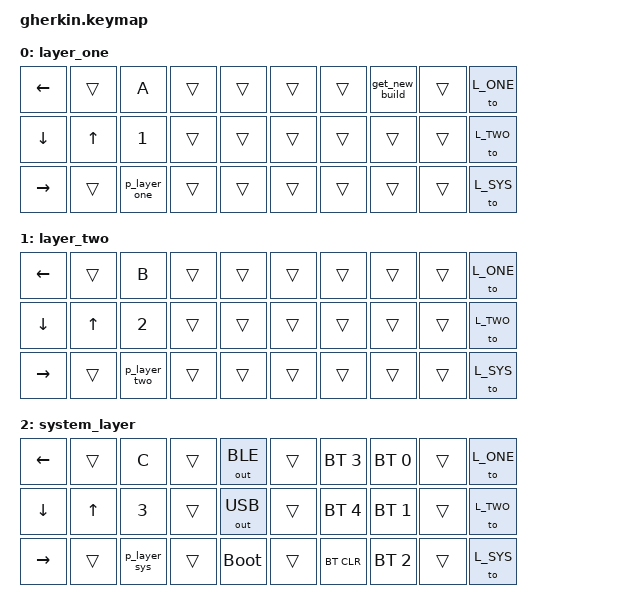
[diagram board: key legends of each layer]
/*
 * Copyright (c) 2020 The ZMK Contributors
 *
 * SPDX-License-Identifier: MIT
 */

#include <behaviors.dtsi>
#include <dt-bindings/zmk/keys.h>
#include <dt-bindings/zmk/bt.h>
#include <dt-bindings/zmk/outputs.h>

#define L_ONE 0
#define L_TWO 1
#define L_SYS 2

/ {

    // MACRO DOCS: https://zmk.dev/docs/behaviors/macros
    // REFERENCE FOR IDEAS: https://logickeyboard.com/shop/adobe-graphic-designer-astra-2-backlit-pc-keyboard-4634p.html

    macros {
        p_layer_one: p_layer_one {
            label = "ZM_p_layer_one";
            compatible = "zmk,behavior-macro";
            #binding-cells = <0>;
            wait-ms = <10>;
            tap-ms = <20>;
            bindings
                = <&macro_press &kp LSHFT>
                , <&macro_tap &kp L>
                , <&macro_release &kp LSHFT>
                , <&macro_tap &kp MINUS &kp NUMBER_1>
                ;
        };
        p_layer_two: p_layer_two {
            label = "ZM_p_layer_two";
            compatible = "zmk,behavior-macro";
            #binding-cells = <0>;
            wait-ms = <10>;
            tap-ms = <20>;
            bindings
                = <&macro_press &kp LSHFT>
                , <&macro_tap &kp L>
                , <&macro_release &kp LSHFT>
                , <&macro_tap &kp MINUS &kp NUMBER_2>
                ;
        };
        p_layer_sys: p_layer_sys {
            label = "ZM_p_layer_sys";
            compatible = "zmk,behavior-macro";
            #binding-cells = <0>;
            wait-ms = <10>;
            tap-ms = <20>;
            bindings
                = <&macro_press &kp LSHFT>
                , <&macro_tap &kp L>
                , <&macro_release &kp LSHFT>
                , <&macro_tap &kp MINUS>
                , <&macro_press &kp LSHFT>
                , <&macro_tap &kp S &kp Y &kp S>
                , <&macro_release &kp LSHFT>
                ;
        };
        get_new_build: get_new_build {
            label = "ZM_get_new_build";
            compatible = "zmk,behavior-macro";
            #binding-cells = <0>;
            wait-ms = <10>;
            tap-ms = <20>;
            bindings
                = <&macro_wait_time 250>
                , <&macro_tap &kp LEFT_GUI>
                , <&macro_wait_time 10>
                , <&macro_tap &kp C &kp H &kp R &kp O &kp M>
                , <&macro_wait_time 1000>
                , <&macro_tap &kp E &kp ENTER>
                , <&macro_wait_time 100>
                , <&macro_press &kp LCTRL>
                , <&macro_tap &kp L>
                , <&macro_release &kp LCTRL>
                , <&macro_wait_time 10>
                , <&macro_tap &kp G &kp I &kp T &kp H &kp U &kp B &kp KP_DOT &kp C &kp O &kp M &kp KP_SLASH>
                , <&macro_tap &kp D &kp A &kp N &kp R &kp I &kp C &kp H &kp O &kp KP_SLASH>
                , <&macro_tap &kp G &kp H &kp E &kp R &kp K &kp I &kp N &kp KP_MINUS &kp Z &kp M &kp K &kp KP_MINUS &kp C &kp O &kp N &kp F &kp I &kp G &kp KP_SLASH>
                , <&macro_tap &kp A &kp C &kp T &kp I &kp O &kp N &kp S &kp ENTER>
                ;
        };

    };

    keymap {
        compatible = "zmk,keymap";

        // BLANK BINDINGS
        // bindings = <
        //    &trans  &trans  &trans  &trans  &trans  &trans  &trans  &trans  &trans  &trans
        //    &trans  &trans  &trans  &trans  &trans  &trans  &trans  &trans  &trans  &trans 
        //    &trans  &trans  &trans  &trans  &trans  &trans  &trans  &trans  &trans  &trans 
        // >;

        layer_one { // AKA 'L_ONE'
            
            // +-------+-------+-------+-------+-------+-------+-------+-------+-------+-------+
            // |       |       |       |       |       |       |       |       |       |       |
            // | LEFT  |       |   A   |       |       |       |       | GH_AC |       | L_ONE |
            // |       |       |       |       |       |       |       |       |       |       |
            // +-------+-------+-------+-------+-------+-------+-------+-------+-------+-------+
            // |       |       |       |       |       |       |       |       |       |       |
            // | DOWN  |  UP   |   1   |       |       |       |       |       |       | L_TWO |
            // |       |       |       |       |       |       |       |       |       |       |
            // +-------+-------+-------+-------+-------+-------+-------+-------+-------+-------+
            // |       |       |       |       |       |       |       |       |       |       |
            // | RIGHT |       |  P_L  |       |       |       |       |       |       | L_SYS |
            // |       |       |       |       |       |       |       |       |       |       |
            // +-------+-------+-------+-------+-------+-------+-------+-------+-------+-------+
            
            bindings = <
                &kp LEFT  &trans  &kp A         &trans  &trans  &trans  &trans  &get_new_build  &trans  &to L_ONE
                &kp DOWN  &kp UP  &kp NUMBER_1  &trans  &trans  &trans  &trans  &trans          &trans  &to L_TWO 
                &kp RIGHT &trans  &p_layer_one  &trans  &trans  &trans  &trans  &trans          &trans  &to L_SYS
            >;
        };

        layer_two { // AKA 'L_TWO'

            // +-------+-------+-------+-------+-------+-------+-------+-------+-------+-------+
            // |       |       |       |       |       |       |       |       |       |       |
            // | LEFT  |       |   B   |       |       |       |       |       |       | L_ONE |
            // |       |       |       |       |       |       |       |       |       |       |
            // +-------+-------+-------+-------+-------+-------+-------+-------+-------+-------+
            // |       |       |       |       |       |       |       |       |       |       |
            // | DOWN  |  UP   |   2   |       |       |       |       |       |       | L_TWO |
            // |       |       |       |       |       |       |       |       |       |       |
            // +-------+-------+-------+-------+-------+-------+-------+-------+-------+-------+
            // |       |       |       |       |       |       |       |       |       |       |
            // | RIGHT |       |  P_L  |       |       |       |       |       |       | L_SYS |
            // |       |       |       |       |       |       |       |       |       |       |
            // +-------+-------+-------+-------+-------+-------+-------+-------+-------+-------+

            bindings = <
                &kp LEFT   &trans  &kp B         &trans  &trans  &trans  &trans  &trans  &trans  &to L_ONE
                &kp DOWN   &kp UP  &kp NUMBER_2  &trans  &trans  &trans  &trans  &trans  &trans  &to L_TWO
                &kp RIGHT  &trans  &p_layer_two  &trans  &trans  &trans  &trans  &trans  &trans  &to L_SYS
            >;
        };

        system_layer { // AKA 'L_SYS'

            // +-------+-------+-------+-------+-------+-------+-------+-------+-------+-------+
            // |       |       |       |       |       |       |       |       |       |       |
            // | LEFT  |       |   C   |       | M_BLE |       | BT_3  | BT_0  |       | L_ONE |
            // |       |       |       |       |       |       |       |       |       |       |
            // +-------+-------+-------+-------+-------+-------+-------+-------+-------+-------+
            // |       |       |       |       |       |       |       |       |       |       |
            // | DOWN  |  UP   |   3   |       | M_USB |       | BT_4  | BT_1  |       | L_TWO |
            // |       |       |       |       |       |       |       |       |       |       |
            // +-------+-------+-------+-------+-------+-------+-------+-------+-------+-------+
            // |       |       |       |       |       |       |       |       |       |       |
            // | RIGHT |       |  P_L  |       | LOAD  |       | BT_CL | BT_2  |       | L_SYS |
            // |       |       |       |       |       |       |       |       |       |       |
            // +-------+-------+-------+-------+-------+-------+-------+-------+-------+-------+

            bindings = <
                &kp LEFT   &trans  &kp C         &trans &out OUT_BLE  &trans  &bt BT_SEL 3  &bt BT_SEL 0  &trans  &to L_ONE
                &kp DOWN   &kp UP  &kp NUMBER_3  &trans &out OUT_USB  &trans  &bt BT_SEL 4  &bt BT_SEL 1  &trans  &to L_TWO
                &kp RIGHT  &trans  &p_layer_sys  &trans &bootloader   &trans  &bt BT_CLR    &bt BT_SEL 2  &trans  &to L_SYS
            >;
        };
        
    };
};
